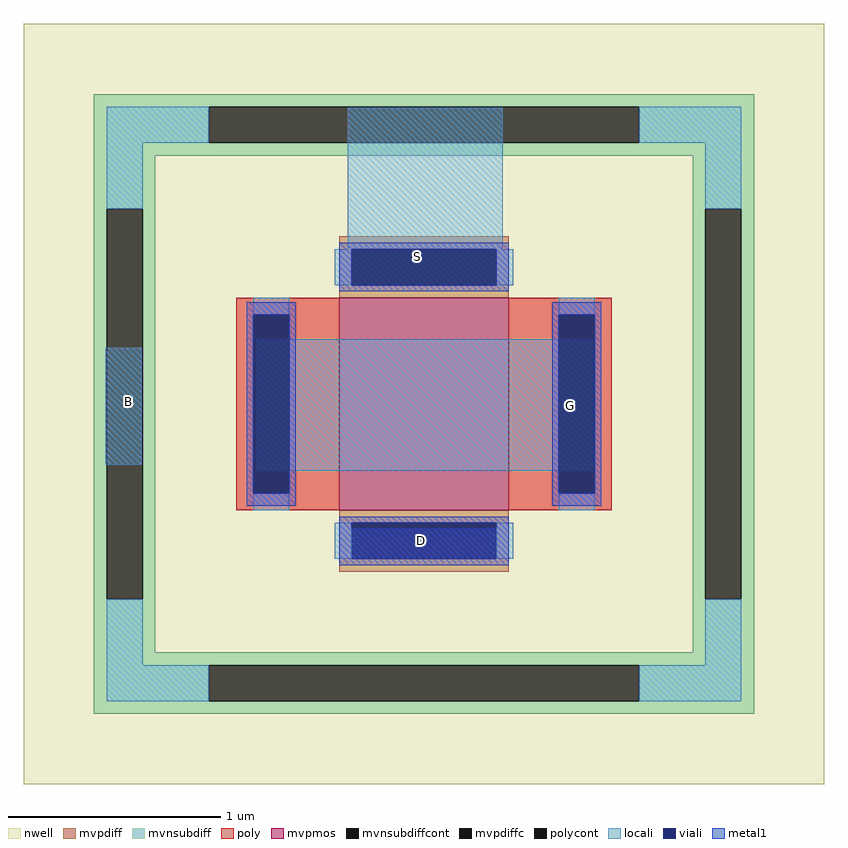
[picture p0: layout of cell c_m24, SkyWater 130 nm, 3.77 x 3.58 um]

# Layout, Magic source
magic
tech sky130A
magscale 1 2
<< locali >>
rect 216 380 362 546
rect -12 210 22 320
rect 130 204 448 328
<< metal1 >>
rect 216 120 362 150
use sky130_fd_pr__pfet_g5v0d10v5_UVT5AQ  sky130_fd_pr__pfet_g5v0d10v5_UVT5AQ_0
transform 0 1 288 -1 0 267
box -358 -377 358 377
<< labels >>
flabel metal1 286 138 286 138 0 FreeSans 800 0 0 0 D
port 0 nsew
flabel locali 426 266 426 266 0 FreeSans 800 0 0 0 G
port 1 nsew
flabel locali 282 406 282 406 0 FreeSans 800 0 0 0 S
port 2 nsew
flabel locali 10 268 10 270 0 FreeSans 800 0 0 0 B
port 3 nsew
<< end >>

# cell sky130_fd_pr__pfet_g5v0d10v5_UVT5AQ: kit device sky130_fd_pr__pfet_g5v0d10v5, w 0.8 l 1 m 1 nf 1 diffcov 100 polycov 100 guard 1 glc 1 grc 1 gtc 1 gbc 1 tbcov 100 rlcov 100 topc 1 botc 1 poverlap 0 doverlap 1 lmin 0.50 wmin 0.42 class mosfet compatible {sky130_fd_pr__pfet_01v8 sky130_fd_pr__pfet_01v8_lvt sky130_fd_pr__pfet_01v8_hvt sky130_fd_pr__pfet_g5v0d10v5} full_metal 1 conn_gates 0 viasrc 100 viadrn 100 viagate 100 viagb 0 viagr 0 viagl 0 viagt 0 doports 1
